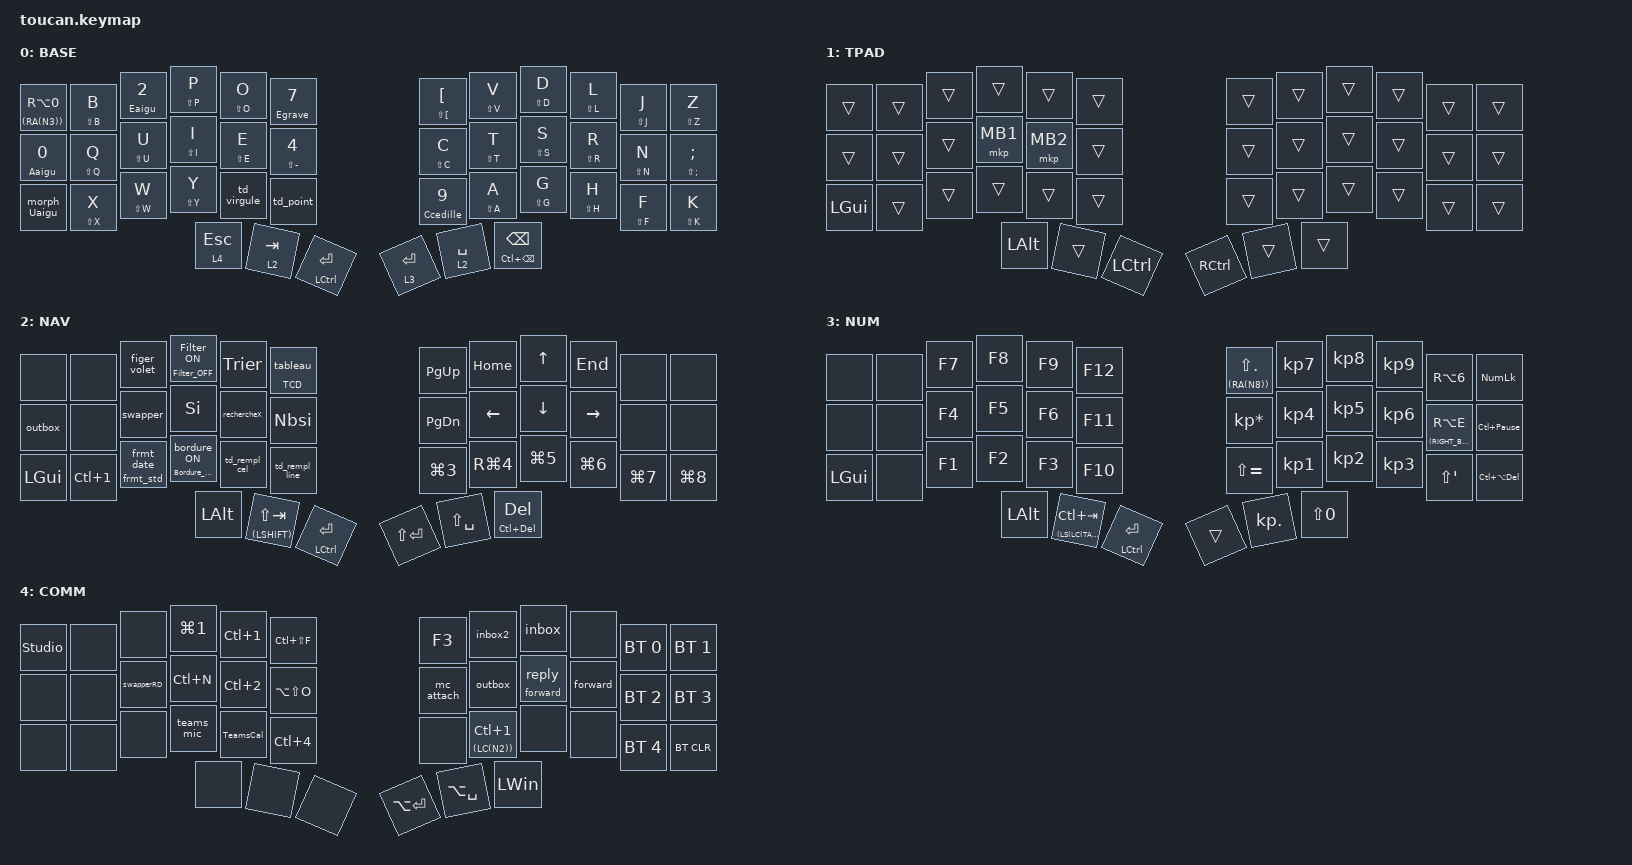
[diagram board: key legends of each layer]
#include <behaviors.dtsi>
#include <dt-bindings/zmk/bt.h>
#include <dt-bindings/zmk/keys.h>
#include <dt-bindings/zmk/pointing.h>

#define BASE 0
#define TRCK  1
#define NAV  2
#define NUM  3
#define COMM  4

/ {
    combos {
        compatible = "zmk,combos";

        //-----------------------------------------------------------------
        //-----------------------------------------------------------------

        Copy {
            bindings = <&td_copy>;
            key-positions = <14 15>;
            timeout-ms = <20>;
            require-prior-idle-ms = <200>;
        };

        Paste {
            bindings = <&td_paste>;
            key-positions = <15 16>;
            timeout-ms = <20>;
            require-prior-idle-ms = <200>;
        };

        SelectAll {
            bindings = <&kp LC(Q)>;
            key-positions = <14 15 16>;
            require-prior-idle-ms = <200>;
        };

        undo {
            bindings = <&kp LC(W)>;
            key-positions = <2 3>;
            timeout-ms = <20>;
            require-prior-idle-ms = <200>;
        };

        redo {
            bindings = <&kp LC(Y)>;
            key-positions = <3 4>;
            timeout-ms = <20>;
            require-prior-idle-ms = <200>;
        };

        prevtab {
            bindings = <&kp LC(PAGE_UP)>;
            key-positions = <26 27>;
            layers = <0>;
            require-prior-idle-ms = <100>;
        };

        nexttab {
            bindings = <&kp LC(PAGE_DOWN)>;
            key-positions = <27 28>;
            layers = <0>;
        };

        Ht_tab {
            bindings = <&ht_Tab 0 LS(F11)>;
            key-positions = <26 27 28>;
            layers = <0>;
        };

        dblquot {
            bindings = <&ht_dblquot 0 N3>;
            key-positions = <16 17>;
        };

        underscore {
            bindings = <&kp N8>;
            key-positions = <28 29>;
        };

        parentinf {
            bindings = <&hth NUBS N5>;
            key-positions = <19 20>;
            timeout-ms = <15>;
            require-prior-idle-ms = <200>;
        };

        parentsup {
            bindings = <&hth LS(NUBS) MINUS>;
            key-positions = <20 21>;
            require-prior-idle-ms = <200>;
        };

        dbl_parent {
            bindings = <&ht_dblparent 0 0>;
            key-positions = <19 20 21>;
            require-prior-idle-ms = <200>;
        };

        crochet_accol_ON {
            bindings = <&hth RA(N4) RA(N5)>;
            key-positions = <31 32>;
            layers = <0>;
        };

        crochet_accol_OFF {
            bindings = <&hth RA(EQUAL) RA(MINUS)>;
            key-positions = <32 33>;
            layers = <0>;
        };

        dbl_crochet_acco {
            bindings = <&ht_dbl_crochetAcco 0 0>;
            key-positions = <31 32 33>;
            layers = <0>;
        };

        minus {
            bindings = <&kp N6>;
            key-positions = <18 19>;
        };

        tild {
            bindings = <&tild>;
            key-positions = <5 6>;
        };

        smiley {
            bindings = <&kp LG(COMMA)>;
            key-positions = <17 18>;
        };

        etcom {
            bindings = <&kp N1>;
            key-positions = <29 30>;
        };

        printscreen {
            bindings = <&hth LG(N9) LS(LG(S))>;
            key-positions = <4 5>;
            require-prior-idle-ms = <300>;
            layers = <0>;
        };

        restorechrome {
            bindings = <&kp LS(LC(T))>;
            key-positions = <26 27 28>;
            layers = <2>;
        };

        auto_brightness {
            bindings = <&kp C_BRIGHTNESS_AUTO>;
            key-positions = <0 1>;
            layers = <0>;
            require-prior-idle-ms = <300>;
        };

        Tcall {
            bindings = <&hth LC(LS(H)) LS(LC(S))>;
            key-positions = <38 39>;
        };

        Tmute {
            bindings = <&kp LS(LC(SEMI))>;
            key-positions = <36 41>;
        };

        chr_previous {
            bindings = <&kp LA(LEFT)>;
            key-positions = <26 27>;
            layers = <2>;
        };

        chr_next {
            bindings = <&kp LA(RIGHT)>;
            key-positions = <28 27>;
            layers = <2>;
        };

        egal {
            bindings = <&kp EQUAL>;
            key-positions = <30 31>;
        };

        clic_droit {
            bindings = <&kp K_APP>;
            key-positions = <6 7>;
        };

        play {
            bindings = <&kp C_PLAY_PAUSE>;
            key-positions = <7 8 9>;
        };

        previous {
            bindings = <&kp C_PREVIOUS>;
            key-positions = <7 8>;
        };

        next {
            bindings = <&kp C_NEXT>;
            key-positions = <8 9>;
        };

        volume_up {
            bindings = <&kp C_VOLUME_UP>;
            key-positions = <11 23>;
            layers = <0>;
            require-prior-idle-ms = <300>;
        };

        volume_dn {
            bindings = <&kp C_VOLUME_DOWN>;
            key-positions = <35 23>;
            layers = <0>;
            require-prior-idle-ms = <300>;
        };

        mute {
            bindings = <&kp C_MUTE>;
            key-positions = <10 11>;
            require-prior-idle-ms = <300>;
            layers = <0>;
        };

        brigt_up {
            bindings = <&kp C_BRIGHTNESS_INC>;
            key-positions = <12 0>;
            require-prior-idle-ms = <300>;
            layers = <0>;
        };

        bright_dn {
            bindings = <&kp C_BRIGHTNESS_DEC>;
            key-positions = <12 24>;
            require-prior-idle-ms = <300>;
            layers = <0>;
        };

        andr_home {
            bindings = <&kp LG(RET)>;
            key-positions = <31 32 33>;
            layers = <1>;
        };

        andr_back {
            bindings = <&kp LG(BACKSPACE)>;
            key-positions = <31>;
            layers = <1>;
        };

        flow_launcher {
            bindings = <&kp LA(SPACE)>;
            key-positions = <37 40>;
        };

        OneXConsole {
            bindings = <&kp LA(LC(LGUI))>;
            key-positions = <0 11>;
        };

        codeNum {
            bindings = <&CodeNum>;
            key-positions = <19 20 21 39>;
            layers = <0>;
        };
    };

    //-----------------------------------------------------------------

    behaviors {
        swapper: swapper {
            compatible = "zmk,behavior-tri-state";
            #binding-cells = <0>;
            bindings = <&kt LALT>, <&kp TAB>, <&kt LALT>;
        };

        swapperRD: swapperRD {
            compatible = "zmk,behavior-tri-state";
            #binding-cells = <0>;
            bindings = <&kt LALT>, <&kp PG_UP>, <&kt LALT>;
        };
    };

    behaviors {
        as: as {
            compatible = "zmk,behavior-hold-tap";
            label = "AutoShift";
            bindings = <&kp>, <&kp>;

            #binding-cells = <2>;
            tapping-term-ms = <150>;
            flavor = "tap-preferred";
        };

        htfast: htfast {
            compatible = "zmk,behavior-hold-tap";
            label = "HoldTap_Fast";
            bindings = <&kp>, <&kp>;

            #binding-cells = <2>;
            tapping-term-ms = <135>;
            quick-tap-ms = <100>;
            flavor = "tap-preferred";
        };

        hth: hth {
            compatible = "zmk,behavior-hold-tap";
            label = "HoldTapHold";
            bindings = <&kp>, <&kp>;

            #binding-cells = <2>;
            tapping-term-ms = <135>;
        };

        htmolayer: htmolayer {
            compatible = "zmk,behavior-hold-tap";
            label = "HTMOLAYER";
            bindings = <&mo>, <&kp>;

            #binding-cells = <2>;
            tapping-term-ms = <130>;
            flavor = "tap-preferred";
            hold-while-undecided;
        };

        td_virgule: td_virgule {
            compatible = "zmk,behavior-tap-dance";
            label = "TD_VIRGULE";
            #binding-cells = <0>;
            bindings = <&hth COMMA M>, <&kp DOT>;
        };

        td_point: td_point {
            compatible = "zmk,behavior-tap-dance";
            label = "TD_POINT";
            #binding-cells = <0>;
            bindings = <&hth LS(M) LS(COMMA)>, <&kp SLASH>;
        };

        ht_eaigu: ht_eaigu {
            compatible = "zmk,behavior-hold-tap";
            label = "HT_EAIGU";
            bindings = <&Eaigu>, <&kp>;

            #binding-cells = <2>;
            tapping-term-ms = <150>;
            flavor = "tap-preferred";
        };

        ht_egrave: ht_egrave {
            compatible = "zmk,behavior-hold-tap";
            label = "HT_EGRAVE";
            bindings = <&Egrave>, <&kp>;

            #binding-cells = <2>;
            tapping-term-ms = <150>;
            flavor = "tap-preferred";
        };

        ht_aaigu: ht_aaigu {
            compatible = "zmk,behavior-hold-tap";
            label = "HT_AAIGU";
            bindings = <&Aaigu>, <&kp>;

            #binding-cells = <2>;
            tapping-term-ms = <150>;
            flavor = "tap-preferred";
        };

        ht_uaigu: ht_uaigu {
            compatible = "zmk,behavior-hold-tap";
            label = "HT_UAIGU";
            bindings = <&Uaigu>, <&kp>;

            #binding-cells = <2>;
            tapping-term-ms = <160>;
            flavor = "tap-preferred";
        };

        morph_Uaigu: morph_Uaigu {
            compatible = "zmk,behavior-mod-morph";
            label = "MORPH_UAIGU";
            bindings = <&ht_uaigu 0 SQT>, <&hth LA(F4) LC(Z)>;

            #binding-cells = <0>;
            mods = <(MOD_LCTL)>;
        };

        ht_ccedille: ht_ccedille {
            compatible = "zmk,behavior-hold-tap";
            label = "HT_CCEDILLE";
            bindings = <&Ccedille>, <&kp>;

            #binding-cells = <2>;
            tapping-term-ms = <150>;
            flavor = "tap-preferred";
        };

        ht_Tab: ht_Tab {
            compatible = "zmk,behavior-hold-tap";
            label = "HT_TAB";
            bindings = <&DelTab>, <&kp>;

            #binding-cells = <2>;
            tapping-term-ms = <150>;
        };

        ht_copy: ht_copy {
            compatible = "zmk,behavior-hold-tap";
            label = "HT_COPY";
            bindings = <&kp>, <&kp>;

            #binding-cells = <2>;
            tapping-term-ms = <220>;
        };

        ht_Paste: ht_Paste {
            compatible = "zmk,behavior-hold-tap";
            label = "HT_PASTE";
            bindings = <&Paste_special>, <&kp>;

            #binding-cells = <2>;
            tapping-term-ms = <220>;
        };

        ht_dblquot: ht_dblquot {
            compatible = "zmk,behavior-hold-tap";
            label = "HT_DBLQUOT";
            bindings = <&doublequot>, <&kp>;

            #binding-cells = <2>;
            tapping-term-ms = <220>;
        };

        ht_dblparent: ht_dblparent {
            compatible = "zmk,behavior-hold-tap";
            label = "HT_DBLPARENT";
            bindings = <&different>, <&dbl_parent>;

            #binding-cells = <2>;
            tapping-term-ms = <100>;
        };

        ht_dbl_crochetAcco: ht_dbl_crochetAcco {
            compatible = "zmk,behavior-hold-tap";
            label = "HT_DBL_CROCHETACCO";
            bindings = <&dbl_accolad>, <&dbl_crochet>;

            #binding-cells = <2>;
            tapping-term-ms = <100>;
        };

        ht_bordure: ht_bordure {
            compatible = "zmk,behavior-hold-tap";
            label = "HT_BORDURE";
            bindings = <&Bordure_OFF>, <&bordure_ON>;

            #binding-cells = <2>;
            tapping-term-ms = <180>;
        };

        ht_cellule_vert: ht_cellule_vert {
            compatible = "zmk,behavior-hold-tap";
            label = "HT_CELLULE_VERT";
            bindings = <&remplissage_cellule_OFF>, <&remplissage_cellule_vert>;

            #binding-cells = <2>;
            tapping-term-ms = <180>;
        };

        ht_Cellule_jaune: ht_Cellule_jaune {
            compatible = "zmk,behavior-hold-tap";
            label = "HT_CELLULE_JAUNE";
            bindings =
                <&remplissage_cellule_OFF>,
                <&remplissage_cellule_orange>;

            #binding-cells = <2>;
            tapping-term-ms = <180>;
        };

        ht_Cellule_rouge: ht_Cellule_rouge {
            compatible = "zmk,behavior-hold-tap";
            label = "HT_CELLULE_ROUGE";
            bindings = <&remplissage_cellule_OFF>, <&remplissage_cellule_rouge>;

            #binding-cells = <2>;
            tapping-term-ms = <180>;
        };

        td_rempl_cel: td_rempl_cel {
            compatible = "zmk,behavior-tap-dance";
            label = "TD_REMPL_CEL";
            #binding-cells = <0>;
            bindings =
                <&ht_cellule_vert 0 0>,
                <&ht_Cellule_jaune 0 0>,
                <&ht_Cellule_rouge 0 0>;

            tapping-term-ms = <250>;
        };

        ht_filter: ht_filter {
            compatible = "zmk,behavior-hold-tap";
            label = "HT_FILTER";
            bindings = <&Filter_OFF>, <&Filter_ON>;

            #binding-cells = <2>;
            tapping-term-ms = <150>;
        };

        ht_ligne_vert: ht_ligne_vert {
            compatible = "zmk,behavior-hold-tap";
            label = "HT_LIGNE_VERT";
            bindings = <&remplissage_ligne_OFF>, <&remplissage_ligne_vert>;

            #binding-cells = <2>;
            tapping-term-ms = <180>;
        };

        ht_ligne_orange: ht_ligne_orange {
            compatible = "zmk,behavior-hold-tap";
            label = "HT_LIGNE_ORANGE";
            bindings = <&remplissage_ligne_OFF>, <&remplissage_ligne_orange>;

            #binding-cells = <2>;
            tapping-term-ms = <180>;
        };

        ht_ligne_rouge: ht_ligne_rouge {
            compatible = "zmk,behavior-hold-tap";
            label = "HT_LIGNE_ROUGE";
            bindings = <&remplissage_ligne_OFF>, <&remplissage_ligne_rouge>;

            #binding-cells = <2>;
            tapping-term-ms = <180>;
        };

        td_rempl_line: td_rempl_line {
            compatible = "zmk,behavior-tap-dance";
            label = "TD_REMPL_LINE";
            #binding-cells = <0>;
            bindings =
                <&ht_ligne_vert 0 0>,
                <&ht_ligne_orange 0 0>,
                <&ht_ligne_rouge 0 0>;

            tapping-term-ms = <250>;
        };

        ht_date_std: ht_date_std {
            compatible = "zmk,behavior-hold-tap";
            label = "HT_DATE_STD";
            bindings = <&frmt_std>, <&frmt_date>;

            #binding-cells = <2>;
            tapping-term-ms = <150>;
        };

        td_copy: td_copy {
            compatible = "zmk,behavior-tap-dance";
            label = "TD_COPY";
            #binding-cells = <0>;
            bindings = <&ht_copy LC(X) LC(C)>, <&copy_format>;

            tapping-term-ms = <220>;
        };

        td_paste: td_paste {
            compatible = "zmk,behavior-tap-dance";
            label = "TD_PASTE";
            #binding-cells = <0>;
            bindings = <&ht_Paste 0 LC(V)>, <&pastevalue>;

            tapping-term-ms = <220>;
        };

        ht_reply: ht_reply {
            compatible = "zmk,behavior-hold-tap";
            label = "HT_REPLY";
            bindings = <&forward>, <&reply>;

            #binding-cells = <2>;
            tapping-term-ms = <150>;
        };

        ass: ass {
            compatible = "zmk,behavior-hold-tap";
            label = "AutoShift slow";
            bindings = <&kp>, <&kp>;

            #binding-cells = <2>;
            tapping-term-ms = <160>;
            flavor = "tap-preferred";
        };

        ht_table_tcd: ht_table_tcd {
            compatible = "zmk,behavior-hold-tap";
            label = "HT_TABLE_TCD";
            bindings = <&TCD>, <&tableau>;

            #binding-cells = <2>;
            flavor = "balanced";
            tapping-term-ms = <200>;
        };
    };

    macros {
        //-----------------------------------------------------------------
        //-----------------------------------------------------------------

        Eaigu: Eaigu {
            compatible = "zmk,behavior-macro";
            #binding-cells = <0>;
            bindings =
                <&macro_press>,
                <&kp LEFT_ALT>,
                <&macro_tap>,
                <&kp KP_N1 &kp KP_N4 &kp KP_N4>,
                <&macro_release>,
                <&kp LEFT_ALT>;

            label = "EAIGU";
        };

        Egrave: egrave {
            compatible = "zmk,behavior-macro";
            #binding-cells = <0>;
            bindings =
                <&macro_press>,
                <&kp LEFT_ALT>,
                <&macro_tap>,
                <&kp KP_N2 &kp KP_N1 &kp KP_N2>,
                <&macro_release>,
                <&kp LEFT_ALT>;

            label = "EGRAVE";
        };

        Aaigu: aaigu {
            compatible = "zmk,behavior-macro";
            #binding-cells = <0>;
            bindings =
                <&macro_press>,
                <&kp LEFT_ALT>,
                <&macro_tap>,
                <&kp KP_N0 &kp KP_N1 &kp KP_N9 &kp KP_N2>,
                <&macro_release>,
                <&kp LEFT_ALT>;

            label = "AAIGU";
        };

        Uaigu: Uaigu {
            compatible = "zmk,behavior-macro";
            #binding-cells = <0>;
            bindings =
                <&macro_press>,
                <&kp LEFT_ALT>,
                <&macro_tap>,
                <&kp KP_N2 &kp KP_N3 &kp KP_N5>,
                <&macro_release>,
                <&kp LEFT_ALT>;

            label = "UAIGU";
        };

        Ccedille: Ccedille {
            compatible = "zmk,behavior-macro";
            #binding-cells = <0>;
            bindings =
                <&macro_press>,
                <&kp LEFT_ALT>,
                <&macro_tap>,
                <&kp KP_N1 &kp KP_N2 &kp KP_N8>,
                <&macro_release>,
                <&kp LEFT_ALT>;

            label = "CCEDILLE";
        };

        rechercheX: rechercheX {
            compatible = "zmk,behavior-macro";
            #binding-cells = <0>;
            bindings = <&kp DEL &kp F2 &kp MINUS &kp LEFT &kp EQUAL &kp LS(R) &kp LS(E) &kp LS(C) &kp LS(H) &kp LS(E) &kp LS(R) &kp LS(C) &kp LS(H) &kp LS(E) &kp LS(X) &kp N5>;
            label = "RECHERCHEX";
            wait-ms = <10>;
            tap-ms = <5>;
        };

        Si: Si {
            compatible = "zmk,behavior-macro";
            #binding-cells = <0>;
            bindings = <&kp DEL &kp F2 &kp MINUS &kp LEFT &kp EQUAL &kp LS(S) &kp LS(I) &kp N5>;
            label = "SI";
            wait-ms = <10>;
            tap-ms = <5>;
        };

        Nbsi: nbsi {
            compatible = "zmk,behavior-macro";
            #binding-cells = <0>;
            bindings = <&kp DEL &kp F2 &kp MINUS &kp LEFT &kp EQUAL &kp LS(N) &kp LS(B) &kp LS(COMMA) &kp LS(S) &kp LS(I) &kp N5>;
            label = "NBSI";
            wait-ms = <10>;
            tap-ms = <5>;
        };

        DelTab: DelTab {
            compatible = "zmk,behavior-macro";
            #binding-cells = <0>;
            bindings = <&kp LEFT_ALT &kp L &kp U &kp S &kp F>;
            label = "DELTAB";
        };

        pastevalue: pastevalue {
            compatible = "zmk,behavior-macro";
            #binding-cells = <0>;
            bindings = <&kp LA(LC(V)) &kp V &kp RET>;
            label = "PASTEVALUE";
        };

        doublequot: doublequot {
            compatible = "zmk,behavior-macro";
            #binding-cells = <0>;
            bindings = <&kp N3 &kp N3 &kp LEFT>;
            label = "DOUBLEQUOT";
        };

        dbl_parent: dbl_parent {
            compatible = "zmk,behavior-macro";
            #binding-cells = <0>;
            bindings = <&kp N5 &kp MINUS &kp LEFT>;
            label = "DBL_PARENT";
        };

        different: different {
            compatible = "zmk,behavior-macro";
            #binding-cells = <0>;
            bindings = <&kp NUBS &kp LS(NUBS) &kp SPACE>;
            label = "DIFFERENT";
        };

        dbl_crochet: dbl_crochet {
            compatible = "zmk,behavior-macro";
            #binding-cells = <0>;
            bindings = <&kp RA(N5) &kp RA(MINUS) &kp LEFT>;
            label = "DBL_CROCHET";
        };

        dbl_accolad: dbl_accolad {
            compatible = "zmk,behavior-macro";
            #binding-cells = <0>;
            bindings = <&kp RA(N4) &kp RA(EQUAL) &kp LEFT>;
            label = "DBL_ACCOLAD";
        };

        tild: tild {
            compatible = "zmk,behavior-macro";
            #binding-cells = <0>;
            bindings = <&kp RA(N7) &kp SPACE>;
            label = "TILD";
        };

        bordure_ON: bordure_ON {
            compatible = "zmk,behavior-macro";
            #binding-cells = <0>;
            bindings = <&kp LEFT_ALT &kp L &kp N9 &kp J &kp LEFT_ALT &kp L &kp N9 &kp Q &kp LEFT_ALT &kp L &kp B &kp B &kp E>;
            label = "BORDURE_ON";
        };

        Bordure_OFF: Bordure_OFF {
            compatible = "zmk,behavior-macro";
            #binding-cells = <0>;
            bindings = <&kp LEFT_ALT &kp L &kp B &kp B &kp U>;
            label = "BORDURE_OFF";
        };

        remplissage_cellule_vert: remplissage_cellule_vert {
            compatible = "zmk,behavior-macro";
            #binding-cells = <0>;
            wait-ms = <15>;
            tap-ms = <7>;
            bindings =
                <&kp LEFT_ALT>,
                <&macro_wait_time 100>,
                <&macro_wait_time 10>,
                <&kp L &kp T &kp T &kp HOME &kp RIGHT &kp RIGHT &kp RIGHT &kp ENTER>;

            label = "REMPLISSAGE_CELLULE_VERT";
        };

        remplissage_cellule_orange: remplissage_cellule_orange {
            compatible = "zmk,behavior-macro";
            #binding-cells = <0>;
            wait-ms = <15>;
            tap-ms = <7>;
            bindings =
                <&kp LEFT_ALT>,
                <&macro_wait_time 100>,
                <&macro_wait_time 10>,
                <&kp L &kp T &kp T &kp HOME &kp RIGHT &kp RIGHT &kp ENTER>;

            label = "REMPLISSAGE_CELLULE_ORANGE";
        };

        remplissage_cellule_rouge: remplissage_cellule_rouge {
            compatible = "zmk,behavior-macro";
            #binding-cells = <0>;
            wait-ms = <15>;
            tap-ms = <7>;
            bindings =
                <&kp LEFT_ALT>,
                <&macro_wait_time 100>,
                <&macro_wait_time 10>,
                <&kp L &kp T &kp T &kp HOME &kp RIGHT &kp ENTER>;

            label = "REMPLISSAGE_CELLULE_ROUGE";
        };

        remplissage_cellule_OFF: remplissage_cellule_OFF {
            compatible = "zmk,behavior-macro";
            #binding-cells = <0>;
            bindings =
                <&kp LEFT_ALT>,
                <&macro_wait_time 100>,
                <&macro_wait_time 10>,
                <&kp L &kp H &kp LS(N1) &kp N &kp LEFT_ALT &kp L &kp G &kp O &kp ENTER>;

            label = "REMPLISSAGE_CELLULE_OFF";
        };

        Filter_ON: Filter_ON {
            compatible = "zmk,behavior-macro";
            #binding-cells = <0>;
            bindings = <&kp DOWN &kp DOWN_ARROW &kp LC(SPACE) &kp LC(M) &kp RIGHT &kp LEFT_ARROW &kp LA(DOWN_ARROW) &kp DOWN &kp DOWN_ARROW &kp DOWN_ARROW &kp DOWN_ARROW &kp DOWN_ARROW &kp DOWN_ARROW &kp DOWN_ARROW &kp DOWN_ARROW>;
            label = "FILTER_ON";
        };

        Filter_OFF: Filter_OFF {
            compatible = "zmk,behavior-macro";
            #binding-cells = <0>;
            bindings = <&kp DOWN &kp DOWN_ARROW &kp LC(SPACE) &kp LC(M) &kp RIGHT &kp LEFT_ARROW &kp LA(DOWN_ARROW) &kp DOWN &kp DOWN_ARROW &kp DOWN_ARROW &kp DOWN_ARROW &kp DOWN_ARROW &kp RET>;
            label = "FILTER_OFF";
        };

        figer_volet: figer_volet {
            compatible = "zmk,behavior-macro";
            #binding-cells = <0>;
            bindings = <&kp LEFT_ALT &kp N &kp N0 &kp R &kp LEFT_ALT &kp L &kp R &kp F>;
            label = "FIGER_VOLET";
        };

        tableau: tableau {
            compatible = "zmk,behavior-macro";
            #binding-cells = <0>;
            bindings =
                <&kp LC(Q) &kp LC(L)>,
                <&macro_wait_time 300>,
                <&kp ENTER>,
                <&macro_wait_time 600>,
                <&kp LEFT_ALT &kp J &kp T>,
                <&macro_wait_time 100>,
                <&kp T>,
                <&macro_wait_time 100>,
                <&kp PG_UP &kp ENTER>;

            label = "TABLEAU";
            wait-ms = <10>;
            tap-ms = <5>;
        };

        Trier: Trier {
            compatible = "zmk,behavior-macro";
            #binding-cells = <0>;
            bindings =
                <&kp LEFT_ALT &kp L &kp R &kp T>,
                <&macro_wait_time 200>,
                <&kp LS(TAB) &kp LS(TAB) &kp TAB &kp TAB &kp DOWN>;

            label = "TRIER";
        };

        remplissage_ligne_vert: remplissage_ligne_vert {
            compatible = "zmk,behavior-macro";
            #binding-cells = <0>;
            bindings =
                <&kp LS(SPACE) &kp LEFT_ALT>,
                <&macro_wait_time 100>,
                <&macro_wait_time 10>,
                <&kp L &kp T &kp T &kp HOME &kp RIGHT &kp RIGHT &kp RIGHT &kp ENTER>;

            label = "REMPLISSAGE_LIGNE_VERT";
        };

        remplissage_ligne_orange: remplissage_ligne_orange {
            compatible = "zmk,behavior-macro";
            #binding-cells = <0>;
            bindings =
                <&kp LS(SPACE) &kp LEFT_ALT>,
                <&macro_wait_time 100>,
                <&macro_wait_time 10>,
                <&kp L &kp T &kp T &kp HOME &kp RIGHT &kp RIGHT &kp ENTER>;

            label = "REMPLISSAGE_LIGNE_ORANGE";
        };

        remplissage_ligne_rouge: remplissage_ligne_rouge {
            compatible = "zmk,behavior-macro";
            #binding-cells = <0>;
            wait-ms = <10>;
            tap-ms = <5>;
            bindings =
                <&kp LS(SPACE) &kp LEFT_ALT>,
                <&macro_wait_time 100>,
                <&macro_wait_time 10>,
                <&kp L &kp T &kp T &kp HOME &kp RIGHT &kp ENTER>;

            label = "REMPLISSAGE_LIGNE_ROUGE";
        };

        remplissage_ligne_OFF: remplissage_ligne_OFF {
            compatible = "zmk,behavior-macro";
            #binding-cells = <0>;
            bindings =
                <&kp LS(SPACE) &kp LEFT_ALT>,
                <&macro_wait_time 100>,
                <&macro_wait_time 10>,
                <&kp L &kp H &kp LS(N1) &kp N &kp LEFT_ALT &kp L &kp G &kp O &kp ENTER>;

            label = "REMPLISSAGE_LIGNE_OFF";
        };

        frmt_date: date {
            compatible = "zmk,behavior-macro";
            #binding-cells = <0>;
            bindings = <&kp LS(LC(N1)) &kp N &kp TAB &kp HOME &kp DOWN_ARROW &kp DOWN_ARROW &kp DOWN_ARROW &kp DOWN_ARROW &kp ENTER>;
            label = "DATE";
        };

        frmt_std: frmt_std {
            compatible = "zmk,behavior-macro";
            #binding-cells = <0>;
            bindings = <&kp LS(LC(N1)) &kp N &kp TAB &kp HOME &kp ENTER>;
            label = "FRMT_STD";
        };

        Paste_special: Paste_special {
            compatible = "zmk,behavior-macro";
            #binding-cells = <0>;
            bindings = <&kp LEFT_ALT &kp L &kp V &kp G>;
            label = "PASTE_SPECIAL";
        };

        copy_format: copy_format {
            compatible = "zmk,behavior-macro";
            #binding-cells = <0>;
            bindings = <&kp LEFT_ALT &kp L &kp Z &kp R>;
            label = "COPY_FORMAT";
        };

        inbox: inbox {
            compatible = "zmk,behavior-macro";
            #binding-cells = <0>;
            bindings =
                <&kp LG(N2)>,
                <&macro_wait_time 500>,
                <&kp SPACE>,
                <&macro_wait_time 200>,
                <&macro_wait_time 10>,
                <&kp LC(LS(TAB)) &kp HOME>,
                <&macro_wait_time 40>,
                <&kp DOWN &kp DOWN &kp ENTER>,
                <&macro_wait_time 200>,
                <&kp HOME>;

            //<&kp LC(N1) &kp LC(LS(TAB)) &kp HOME &kp DOWN &kp DOWN &kp ENTER &kp HOME>;

            label = "INBOX";
            wait-ms = <80>;
            tap-ms = <80>;
        };

        outbox: outbox {
            compatible = "zmk,behavior-macro";
            #binding-cells = <0>;
            bindings =
                <&kp LS(LC(TAB)) &kp HOME>,
                <&macro_wait_time 40>,
                <&kp DOWN &kp DOWN &kp DOWN &kp ENTER>,
                <&macro_wait_time 200>,
                <&kp HOME>;

            label = "OUTBOX";
        };

        reply: reply {
            compatible = "zmk,behavior-macro";
            #binding-cells = <0>;
            bindings = <&kp LS(LC(R)) &kp LC(O)>;
            label = "REPLY";
        };

        forward: forward {
            compatible = "zmk,behavior-macro";
            #binding-cells = <0>;
            bindings = <&kp LC(F) &kp LC(O)>;
            label = "FORWARD";
        };

        calendar: calendar {
            compatible = "zmk,behavior-macro";
            #binding-cells = <0>;
            bindings = <&kp LC(N2)>;
            label = "CALENDAR";
        };

        TCD: TCD {
            compatible = "zmk,behavior-macro";
            #binding-cells = <0>;
            bindings =
                <&kp LEFT_ALT &kp S &kp V &kp LS(N1) &kp T>,
                <&macro_wait_time 300>,
                <&kp TAB &kp N &kp ENTER>;

            label = "TCD";
            wait-ms = <10>;
            tap-ms = <5>;
        };

        mc_attach: mc_attach {
            compatible = "zmk,behavior-macro";
            #binding-cells = <0>;
            bindings = <&kp LEFT_ALT &kp L &kp Q &kp F>;
            label = "MC_ATTACH";
        };

        teams_mic: teams_mic {
            compatible = "zmk,behavior-macro";
            #binding-cells = <0>;
            bindings =
                <&kp LC(M)>,
                <&macro_wait_time 100>,
                <&kp LC(F) &kp Q &kp U &kp D &kp I &kp O>,
                <&macro_wait_time 300>,
                <&kp DOWN &kp ENTER &kp TAB &kp TAB &kp ENTER>;

            label = "TEAMS_MIC";
        };

        TeamsCal: TeamsCal {
            compatible = "zmk,behavior-macro";
            #binding-cells = <0>;
            bindings =
                <&kp LC(N3)>,
                <&macro_wait_time 900>,
                <&macro_wait_time 10>,
                <&kp TAB &kp TAB &kp TAB &kp TAB &kp TAB &kp TAB &kp TAB &kp TAB &kp TAB &kp TAB &kp TAB &kp TAB>;

            label = "TEAMSCAL";
            wait-ms = <10>;
            tap-ms = <5>;
        };

        inbox2: inbox2 {
            compatible = "zmk,behavior-macro";
            #binding-cells = <0>;
            bindings =
                <&kp LS(LC(TAB)) &kp HOME>,
                <&macro_wait_time 40>,
                <&kp DOWN &kp DOWN &kp ENTER>,
                <&macro_wait_time 200>,
                <&kp HOME>;

            label = "INBOX2";
        };

        CodeNum: CodeNum {
            compatible = "zmk,behavior-macro";
            #binding-cells = <0>;
            bindings = <&kp KP_NUMBER_2 &kp KP_NUMBER_4 &kp KP_NUMBER_6 &kp KP_NUMBER_6 &kp KP_NUMBER_7 &kp KP_NUMBER_7 &kp KP_NUMBER_2 &kp KP_NUMBER_4 &kp KP_NUMBER_6 &kp KP_NUMBER_6 &kp KP_NUMBER_7 &kp KP_NUMBER_7>;
            label = "CODENUM";
        };
    };

    keymap {
        compatible = "zmk,keymap";

        BASE {
            display-name = "BASE";
            bindings = <
&htfast (RA(N3)) RA(N0)  &as LS(B) B  &ht_eaigu 0 N2  &as LS(P) P  &as LS(O) O  &ht_egrave 0 N7  &as LS(LBKT) LBKT  &as LS(V) V  &as LS(D) D  &as LS(L) L  &as LS(J) J  &as LS(Z) Z  &ht_aaigu 0 N0  &ass LS(Q) Q  &ass LS(U) U  &as LS(I) I  &as LS(E) E  &htfast LS(MINUS) N4  &as LS(C) C  &as LS(T) T  &as LS(S) S  &as LS(R) R  &as LS(N) N  &as LS(SEMI) SEMI  &morph_Uaigu  &as LS(X) X  &as LS(W) W  &as LS(Y) Y  &td_virgule  &td_point  &ht_ccedille 0 N9  &as LS(A) A  &as LS(G) G  &as LS(H) H  &as LS(F) F  &as LS(K) K  &htmolayer 4 ESC  &htmolayer 2 TAB  &hth LCTRL ENTER  &htmolayer 3 ENTER  &htmolayer 2 SPACE  &htfast LC(BACKSPACE) BACKSPACE
            >;
        };

        TRCK {
            display-name = "TPAD";
            bindings = <
&trans  &trans  &trans  &trans  &trans  &trans  &trans  &trans  &trans  &trans  &trans  &trans  &trans  &trans  &trans  &mkp MB1  &mkp MB2  &trans  &trans  &trans  &trans  &trans  &trans  &trans  &kp LGUI  &trans  &trans  &trans  &trans  &trans  &trans  &trans  &trans  &trans  &trans  &trans  &kp LEFT_ALT  &trans  &kp LCTRL  &kp RCTRL  &trans  &trans
            >;
        };

        NAV {
            display-name = "NAV";
            bindings = <
&none  &none  &figer_volet  &ht_filter 0 0  &Trier  &ht_table_tcd 0 0  &kp PG_UP  &kp HOME  &kp UP  &kp END  &none  &none  &outbox  &none  &swapper  &Si  &rechercheX  &Nbsi  &kp PG_DN  &kp LEFT  &kp DOWN  &kp RIGHT  &none  &none  &kp LGUI  &kp LC(N1)  &ht_date_std 0 0  &ht_bordure 0 0  &td_rempl_cel  &td_rempl_line  &kp LG(N3)  &kp RG(N4)  &kp LG(N5)  &kp LG(N6)  &kp LG(N7)  &kp LG(N8)  &kp LEFT_ALT  &hth (LSHIFT) LS(TAB)  &hth LCTRL ENTER  &kp LS(RET)  &kp LS(SPACE)  &htfast LC(DELETE) DELETE
            >;
        };

        NUM {
            display-name = "NUM";
            bindings = <
&none  &none  &kp F7  &kp F8  &kp F9  &kp F12  &hth (RA(N8)) LS(DOT)  &kp KP_N7  &kp KP_N8  &kp KP_N9  &kp RA(N6)  &kp KP_NUM  &none  &none  &kp F4  &kp F5  &kp F6  &kp F11  &kp KP_MULTIPLY  &kp KP_NUMBER_4  &kp KP_N5  &kp KP_N6  &htfast (RIGHT_BRACKET) RA(E)  &kp LC(PAUSE_BREAK)  &kp LGUI  &none  &kp F1  &kp F2  &kp F3  &kp F10  &kp LS(EQUAL)  &kp KP_N1  &kp KP_N2  &kp KP_N3  &kp LS(SQT)  &kp LC(LA(DELETE))  &kp LEFT_ALT  &hth (LS(LC(TAB))) LC(TAB)  &hth LCTRL ENTER  &trans  &kp KP_DOT  &kp LS(N0)
            >;
        };

        COMM {
            display-name = "COMM";
            bindings = <
&studio_unlock  &none  &none  &kp LG(N1)  &kp LC(N1)  &kp LC(LS(F))  &kp F3  &inbox2  &inbox  &none  &bt BT_SEL 0  &bt BT_SEL 1  &none  &none  &swapperRD  &kp LC(N)  &kp LC(N2)  &kp LA(LS(O))  &mc_attach  &outbox  &ht_reply 0 0  &forward  &bt BT_SEL 2  &bt BT_SEL 3  &none  &none  &none  &teams_mic  &TeamsCal  &kp LC(N4)  &none  &htfast (LC(N2)) LC(N1)  &none  &none  &bt BT_SEL 4  &bt BT_CLR  &none  &none  &none  &kp LA(ENTER)  &kp LA(SPACE)  &kp LWIN
            >;
        };
    };
};
